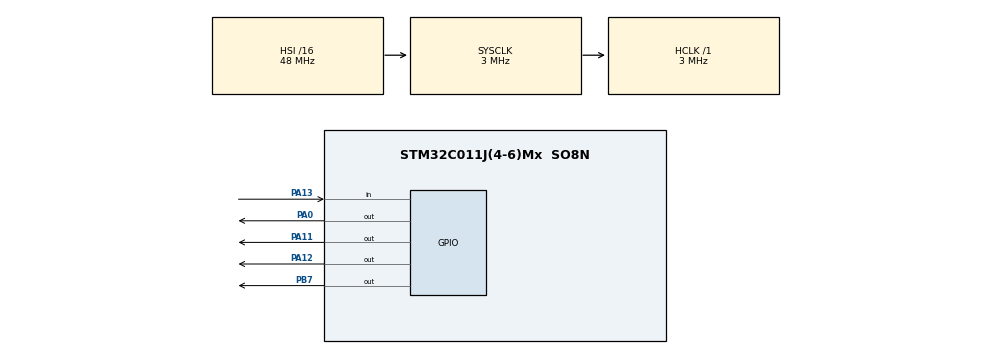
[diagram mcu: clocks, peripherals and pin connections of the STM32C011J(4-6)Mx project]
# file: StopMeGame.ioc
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Mcu.Family=STM32C0
Mcu.Name=STM32C011J(4-6)Mx
Mcu.Package=SO8N
NVIC.TIM14_IRQn=true\:0\:0\:false\:false\:true\:true\:true\:true
PA0.Signal=GPIO_Output
PA11\ [PA9].PinState=GPIO_PIN_RESET
PA11\ [PA9].Signal=GPIO_Output
PA12\ [PA10].PinState=GPIO_PIN_RESET
PA12\ [PA10].Signal=GPIO_Output
PA13.GPIO_PuPd=GPIO_PULLUP
PA13.Signal=GPIO_Input
PA8__PA11\ [PA9].StandardMode=true
PB7.Signal=GPIO_Output
PC14-OSCX_IN\ (PC14)__PB7.StandardMode=true
PC15-OSCX_OUT\ (PC15)__PA14-BOOT0__PB6.StandardMode=true
PF2-NRST__PA0__PA1__PA2.StandardMode=true
ProjectManager.HeapSize=0x200
ProjectManager.StackSize=0x400
ProjectManager.TargetToolchain=STM32CubeIDE
RCC.ADCFreq_Value=3000000
RCC.AHBFreq_Value=3000000
RCC.CortexFreq_Value=3000000
RCC.EXTERNAL_CLOCK_VALUE=12288000
RCC.HCLKFreq_Value=3000000
RCC.HSE_VALUE=8000000
RCC.HSISYSCLKDivider=RCC_HSI_DIV16
RCC.HSI_VALUE=48000000
RCC.LSE_VALUE=32768
RCC.SYSCLKFreq_VALUE=3000000
TIM14.AutoReloadPreload=TIM_AUTORELOAD_PRELOAD_ENABLE
TIM14.Channel=TIM_CHANNEL_1
TIM14.Period=47
TIM14.Prescaler=15
VP_TIM14_VS_ClockSourceINT.Mode=Enable_Timer
VP_TIM14_VS_no_output1.Mode=Output Compare1 No Output
board=custom

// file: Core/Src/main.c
/* USER CODE BEGIN Header */
/**
 **************************************************
 *
 * @file        main.c
 * @brief       STM32 code for Stop Me Game Solder Kit.
 *
 * @note        In order to successfully run this code, make sure to use STM32 cube programmer
 * 				And set Option Bytes -> User Configuration -> NRST_MODE 2
 *
 * @authors     Borna Biro for soldered.com
 ***************************************************/
/* USER CODE END Header */
#include "main.h"

/* USER CODE BEGIN Includes */
#include "defines.h"

// Include the game library in the code
#include "game.h"
/* USER CODE END Includes */

TIM_HandleTypeDef htim14;

/* USER CODE BEGIN PV */
// Flag for moving dot "up" and "down" (to the right or to the left)
uint8_t down = 0;

// Variable keeps track of the score
uint8_t score = 0;

// Delay between dot movement (in milliseconds).
// The exact value is defined in defines.h.
uint16_t delayTime = DEFAULT_DELAY_TIME;

// Variable that keeps track of the dot position
int i = 0;
/* USER CODE END PV */

void SystemClock_Config(void);
static void MX_GPIO_Init(void);
static void MX_TIM14_Init(void);

int main(void)
{

  /* MCU Configuration--------------------------------------------------------*/

  /* Reset of all peripherals, Initializes the Flash interface and the Systick. */
  HAL_Init();

  /* Configure the system clock */
  SystemClock_Config();

  /* USER CODE BEGIN SysInit */

  // If needed, this delay can be removed.
  // It is here in case the finished device needs to be reprogrammed.
  HAL_Delay(100);
  /* USER CODE END SysInit */

  /* Initialize all configured peripherals */
  MX_GPIO_Init();
  MX_TIM14_Init();
  /* USER CODE BEGIN 2 */

  // Start the Timer Interrupt (needed for LED charlieplexing)
  HAL_TIM_Base_Start_IT(&htim14);

  // Show start animation
  gameShowStartAnimation();
  /* USER CODE END 2 */

  /* Infinite loop */
  /* USER CODE BEGIN WHILE */
  while (1)
  {
	    uint32_t timeout;

	    // Light up only one LED (one dot)
	    gameSetLeds(1 << i);

	    // Update charlieplex LED buffer
	    gameUpdateLedBuffer();

	    // If dot got to the end, reverse direction
	    if (i >= 6)
	    {
	        down = 1;
	    }

	    // If the dot got to the start, again reverse direction again
	    if (i == 0)
	    {
	        down = 0;
	    }

	    // Get millisecond timestamp
	    timeout = HAL_GetTick();

	    // Wait until the button is pressed, or until delay has passed (dot needs to be moved)
	    while (((uint32_t)(HAL_GetTick() - timeout) <= delayTime) && (HAL_GPIO_ReadPin(NET_D1_PORT, 1 << NET_D1_PIN) == GPIO_PIN_SET));

	    // If timeout didn't occur (delay time is still not passed), that means button is pressed
	    if ((uint32_t)(HAL_GetTick() - timeout) <= delayTime)
	    {
	    	// Wait until the button is released
	        while (HAL_GPIO_ReadPin(NET_D1_PORT, 1 << NET_D1_PIN) == GPIO_PIN_RESET)
	           ;

	        // If player stopped on the 4th LED (i = 3), it stopped on blue LED, count that as succcess
	        if (i == 3)
	        {
	        	// Show animation for success, add the points.
	            gameShowSuccAnimation();
	            score++;

	            // Calculate new delay time (as player scores more points, delays are smaller and smaller)
	            if (delayTime > 100)
	            {
	                delayTime -= REACTION_TIME_STEP1;
	            }
	            else if ((delayTime <= 100) && (delayTime > 30))
	            {
	                delayTime -= REACTION_TIME_STEP2;
	            }
	            else if ((delayTime <= 30) && (delayTime > 5))
	            {
	                delayTime -= REACTION_TIME_STEP3;
	            }
	        }
	        else	// If player missed LED in the middle, that means the game is over. Show fail animation, show the score and start over again.
	        {
	            i = 0;
	            HAL_Delay(500);
	            gameShowFailAnimation();
	            HAL_Delay(500);
	            gameShowResult(score);
	            HAL_Delay(500);
	            score = 0;
	            delayTime = DEFAULT_DELAY_TIME;
	            gameShowStartAnimation();
	        }
	    }	// If timeout has occurred, that means button is not pressed, move the dot.
	    else
	    {
	        down == 0 ? i++ : i--;
	    }
    /* USER CODE END WHILE */

  }
}

void SystemClock_Config(void)
{
  RCC_OscInitTypeDef RCC_OscInitStruct = {0};
  RCC_ClkInitTypeDef RCC_ClkInitStruct = {0};

  /** Initializes the RCC Oscillators according to the specified parameters
  * in the RCC_OscInitTypeDef structure.
  */
  RCC_OscInitStruct.OscillatorType = RCC_OSCILLATORTYPE_HSI;
  RCC_OscInitStruct.HSIState = RCC_HSI_ON;
  RCC_OscInitStruct.HSIDiv = RCC_HSI_DIV16;
  RCC_OscInitStruct.HSICalibrationValue = RCC_HSICALIBRATION_DEFAULT;
  if (HAL_RCC_OscConfig(&RCC_OscInitStruct) != HAL_OK)
  {
    Error_Handler();
  }

  /** Initializes the CPU, AHB and APB buses clocks
  */
  RCC_ClkInitStruct.ClockType = RCC_CLOCKTYPE_HCLK|RCC_CLOCKTYPE_SYSCLK
                              |RCC_CLOCKTYPE_PCLK1;
  RCC_ClkInitStruct.SYSCLKSource = RCC_SYSCLKSOURCE_HSI;
  RCC_ClkInitStruct.SYSCLKDivider = RCC_SYSCLK_DIV1;
  RCC_ClkInitStruct.AHBCLKDivider = RCC_HCLK_DIV1;
  RCC_ClkInitStruct.APB1CLKDivider = RCC_APB1_DIV1;

  if (HAL_RCC_ClockConfig(&RCC_ClkInitStruct, FLASH_LATENCY_0) != HAL_OK)
  {
    Error_Handler();
  }
}

static void MX_TIM14_Init(void)
{

  TIM_OC_InitTypeDef sConfigOC = {0};

  htim14.Instance = TIM14;
  htim14.Init.Prescaler = 15;
  htim14.Init.CounterMode = TIM_COUNTERMODE_UP;
  htim14.Init.Period = 47;
  htim14.Init.ClockDivision = TIM_CLOCKDIVISION_DIV1;
  htim14.Init.AutoReloadPreload = TIM_AUTORELOAD_PRELOAD_ENABLE;
  if (HAL_TIM_Base_Init(&htim14) != HAL_OK)
  {
    Error_Handler();
  }
  if (HAL_TIM_OC_Init(&htim14) != HAL_OK)
  {
    Error_Handler();
  }
  sConfigOC.OCMode = TIM_OCMODE_TIMING;
  sConfigOC.Pulse = 0;
  sConfigOC.OCPolarity = TIM_OCPOLARITY_HIGH;
  sConfigOC.OCFastMode = TIM_OCFAST_DISABLE;
  if (HAL_TIM_OC_ConfigChannel(&htim14, &sConfigOC, TIM_CHANNEL_1) != HAL_OK)
  {
    Error_Handler();
  }

}

static void MX_GPIO_Init(void)
{
  GPIO_InitTypeDef GPIO_InitStruct = {0};

  /* GPIO Ports Clock Enable */
  __HAL_RCC_GPIOB_CLK_ENABLE();
  __HAL_RCC_GPIOA_CLK_ENABLE();

  /*Configure GPIO pin Output Level */
  HAL_GPIO_WritePin(GPIOB, GPIO_PIN_7, GPIO_PIN_RESET);

  /*Configure GPIO pin Output Level */
  HAL_GPIO_WritePin(GPIOA, GPIO_PIN_0|GPIO_PIN_11|GPIO_PIN_12, GPIO_PIN_RESET);

  /*Configure GPIO pin : PB7 */
  GPIO_InitStruct.Pin = GPIO_PIN_7;
  GPIO_InitStruct.Mode = GPIO_MODE_OUTPUT_PP;
  GPIO_InitStruct.Pull = GPIO_NOPULL;
  GPIO_InitStruct.Speed = GPIO_SPEED_FREQ_LOW;
  HAL_GPIO_Init(GPIOB, &GPIO_InitStruct);

  /*Configure GPIO pins : PA0 PA11 PA12 */
  GPIO_InitStruct.Pin = GPIO_PIN_0|GPIO_PIN_11|GPIO_PIN_12;
  GPIO_InitStruct.Mode = GPIO_MODE_OUTPUT_PP;
  GPIO_InitStruct.Pull = GPIO_NOPULL;
  GPIO_InitStruct.Speed = GPIO_SPEED_FREQ_LOW;
  HAL_GPIO_Init(GPIOA, &GPIO_InitStruct);

  /*Configure GPIO pin : PA13 */
  GPIO_InitStruct.Pin = GPIO_PIN_13;
  GPIO_InitStruct.Mode = GPIO_MODE_INPUT;
  GPIO_InitStruct.Pull = GPIO_PULLUP;
  HAL_GPIO_Init(GPIOA, &GPIO_InitStruct);

  /**/
  HAL_SYSCFG_SetPinBinding(HAL_BIND_SO8_PIN1_PB7|HAL_BIND_SO8_PIN4_PA0|HAL_BIND_SO8_PIN5_PA11);

}

/* USER CODE BEGIN 4 */
void HAL_TIM_PeriodElapsedCallback(TIM_HandleTypeDef* htim)
{
    gameTimerISR();
}
/* USER CODE END 4 */

void Error_Handler(void)
{
  __disable_irq();
  while (1)
  {
  }
}
